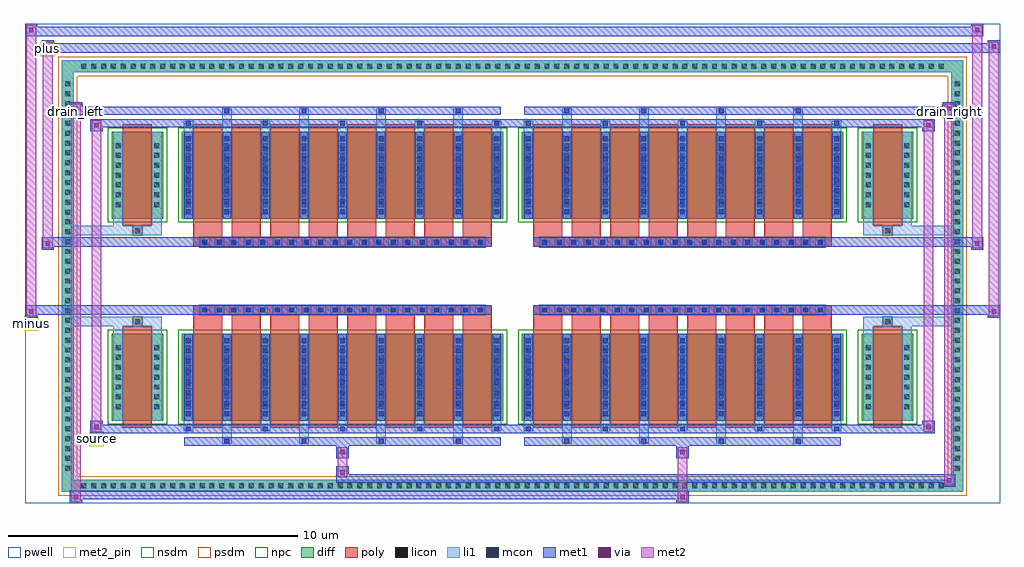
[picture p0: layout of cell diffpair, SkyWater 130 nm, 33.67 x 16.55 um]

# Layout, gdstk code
import gdstk
lib = gdstk.Library(unit=1e-6, precision=5e-09)
def R(c, l, rs):  # rectangles x0, y0, x1, y1
    for r in rs: c.add(gdstk.rectangle(r[:2], r[2:], *l))
def A(c, l, x, y, w, h, nx, ny, dx, dy):  # array of equal rectangles
    R(c, l, [(x+i*dx, y+j*dy, x+i*dx+w, y+j*dy+h) for i in range(nx) for j in range(ny)])
def P(c, l, *ps):  # polygons
    for p in ps: c.add(gdstk.Polygon(p, *l))
pwell = (64, 44)
diff = (65, 20)
poly = (66, 20)
licon = (66, 44)
li1 = (67, 20)
mcon = (67, 44)
met1 = (68, 20)
via = (68, 44)
met2_pin = (69, 16)
met2 = (69, 20)
nsdm = (93, 44)
psdm = (94, 20)
npc = (95, 20)

diffpair = lib.new_cell('diffpair')
R(diffpair, pwell, [(-16.82,-7.84,16.82,8.71), (-14.14,-6.03,-0.01,-0.805), (0.01,-6.03,14.14,-0.805), (-14.14,0.805,-0.01,6.03), (0.01,0.805,14.14,6.03)])
A(diffpair, diff, -14.995, -7.44, 0.41, 0.41, 88, 2, 0.34, 14.47)
A(diffpair, diff, -15.55, -6.835, 0.41, 0.41, 1, 40, 0, 0.34)
A(diffpair, diff, 15.14, -6.835, 0.41, 0.41, 1, 40, 0, 0.34)
R(diffpair, diff, [(-14.995,-7.44,14.995,-7.03), (-15.55,-6.835,-15.14,6.835), (15.14,-6.835,15.55,6.835), (-13.83,-4.985,-12.05,-1.985), (-11.41,-4.985,-0.32,-1.985), (0.32,-4.985,11.41,-1.985), (12.05,-4.985,13.83,-1.985), (-13.83,1.985,-12.05,4.985), (-11.41,1.985,-0.32,4.985), (0.32,1.985,11.41,4.985), (12.05,1.985,13.83,4.985), (-14.995,7.03,14.995,7.44)])
P(diffpair, diff, [(15.55,7.44),(-15.55,7.44),(-15.55,-7.03),(-15.14,-7.03),(-15.14,7.03),(15.14,7.03),(15.14,-7.03),(-15.14,-7.03),(-15.55,-7.03),(-15.55,-7.44),(15.55,-7.44)])
A(diffpair, poly, -11.02, -5.235, 1, 3.5, 8, 2, 1.33, 6.97)
A(diffpair, poly, 0.71, -5.235, 1, 3.5, 8, 2, 1.33, 6.97)
A(diffpair, poly, -11.02, -1.735, 1, 0.4, 8, 2, 1.33, 3.07)
A(diffpair, poly, 0.71, -1.735, 1, 0.4, 8, 2, 1.33, 3.07)
A(diffpair, poly, -10.78, -1.335, 0.33, 0.33, 20, 2, 0.5, 2.34)
A(diffpair, poly, 0.95, -1.335, 0.33, 0.33, 20, 2, 0.5, 2.34)
R(diffpair, poly, [(-13.44,-5.235,-12.44,-1.735), (12.44,-5.235,13.44,-1.735), (-13.105,-1.735,-12.775,-1.405), (-13.105,-1.735,-12.775,-1.405), (12.775,-1.735,13.105,-1.405), (12.775,-1.735,13.105,-1.405), (-11.02,-1.335,-0.71,-1.005), (0.71,-1.335,11.02,-1.005), (-11.02,1.005,-0.71,1.335), (0.71,1.005,11.02,1.335), (-13.105,1.405,-12.775,1.735), (-13.105,1.405,-12.775,1.735), (12.775,1.405,13.105,1.735), (12.775,1.405,13.105,1.735), (-13.44,1.735,-12.44,5.235), (12.44,1.735,13.44,5.235)])
A(diffpair, licon, -14.875, -7.32, 0.17, 0.17, 88, 2, 0.34, 14.47)
A(diffpair, licon, -15.43, -6.715, 0.17, 0.17, 1, 40, 0, 0.34)
A(diffpair, licon, 15.26, -6.715, 0.17, 0.17, 1, 40, 0, 0.34)
A(diffpair, licon, -13.69, -4.59, 0.17, 0.17, 1, 7, 0, 0.34)
A(diffpair, licon, -12.36, -4.59, 0.17, 0.17, 1, 7, 0, 0.34)
A(diffpair, licon, -11.27, -4.59, 0.17, 0.17, 9, 7, 1.33, 0.34)
A(diffpair, licon, 0.46, -4.59, 0.17, 0.17, 9, 7, 1.33, 0.34)
A(diffpair, licon, 12.19, -4.59, 0.17, 0.17, 1, 7, 0, 0.34)
A(diffpair, licon, 13.52, -4.59, 0.17, 0.17, 1, 7, 0, 0.34)
A(diffpair, licon, -10.7, -1.255, 0.17, 0.17, 20, 2, 0.5, 2.34)
A(diffpair, licon, 1.03, -1.255, 0.17, 0.17, 20, 2, 0.5, 2.34)
A(diffpair, licon, -13.69, 2.38, 0.17, 0.17, 1, 7, 0, 0.34)
A(diffpair, licon, -12.36, 2.38, 0.17, 0.17, 1, 7, 0, 0.34)
A(diffpair, licon, -11.27, 2.38, 0.17, 0.17, 9, 7, 1.33, 0.34)
A(diffpair, licon, 0.46, 2.38, 0.17, 0.17, 9, 7, 1.33, 0.34)
A(diffpair, licon, 12.19, 2.38, 0.17, 0.17, 1, 7, 0, 0.34)
A(diffpair, licon, 13.52, 2.38, 0.17, 0.17, 1, 7, 0, 0.34)
R(diffpair, licon, [(-13.025,-1.655,-12.855,-1.485), (12.855,-1.655,13.025,-1.485), (-13.025,1.485,-12.855,1.655), (12.855,1.485,13.025,1.655)])
A(diffpair, li1, -14.955, -7.4, 0.33, 0.33, 88, 2, 0.34, 14.47)
A(diffpair, li1, -15.51, -6.795, 0.33, 0.33, 1, 40, 0, 0.34)
A(diffpair, li1, 15.18, -6.795, 0.33, 0.33, 1, 40, 0, 0.34)
A(diffpair, li1, -10.02, -5.79, 0.33, 0.805, 4, 2, 2.66, 10.775)
A(diffpair, li1, -9.94, -5.79, 0.17, 0.17, 4, 2, 2.66, 11.41)
A(diffpair, li1, 1.71, -5.79, 0.33, 0.805, 4, 2, 2.66, 10.775)
A(diffpair, li1, 1.79, -5.79, 0.17, 0.17, 4, 2, 2.66, 11.41)
A(diffpair, li1, -11.35, -5.36, 0.33, 0.375, 5, 2, 2.66, 10.345)
A(diffpair, li1, -11.27, -5.36, 0.17, 0.17, 5, 2, 2.66, 10.55)
A(diffpair, li1, 0.38, -5.36, 0.33, 0.375, 5, 2, 2.66, 10.345)
A(diffpair, li1, 0.46, -5.36, 0.17, 0.17, 5, 2, 2.66, 10.55)
A(diffpair, li1, -11.35, -4.985, 0.33, 3, 9, 2, 1.33, 6.97)
A(diffpair, li1, 0.38, -4.985, 0.33, 3, 9, 2, 1.33, 6.97)
A(diffpair, li1, -11.27, -4.83, 0.17, 0.17, 9, 8, 1.33, 0.36)
A(diffpair, li1, -11.27, -4.83, 0.17, 2.69, 9, 2, 1.33, 6.97)
A(diffpair, li1, 0.46, -4.83, 0.17, 0.17, 9, 8, 1.33, 0.36)
A(diffpair, li1, 0.46, -4.83, 0.17, 2.69, 9, 2, 1.33, 6.97)
A(diffpair, li1, -13.77, -4.67, 0.33, 0.33, 1, 7, 0, 0.34)
A(diffpair, li1, -12.44, -4.67, 0.33, 0.33, 1, 7, 0, 0.34)
A(diffpair, li1, -11.35, -4.67, 0.33, 0.33, 9, 7, 1.33, 0.34)
A(diffpair, li1, 0.38, -4.67, 0.33, 0.33, 9, 7, 1.33, 0.34)
A(diffpair, li1, 12.11, -4.67, 0.33, 0.33, 1, 7, 0, 0.34)
A(diffpair, li1, 13.44, -4.67, 0.33, 0.33, 1, 7, 0, 0.34)
A(diffpair, li1, -10.78, -1.335, 0.33, 0.33, 20, 2, 0.5, 2.34)
A(diffpair, li1, 0.95, -1.335, 0.33, 0.33, 20, 2, 0.5, 2.34)
A(diffpair, li1, -11.27, 2.14, 0.17, 0.17, 9, 8, 1.33, 0.36)
A(diffpair, li1, 0.46, 2.14, 0.17, 0.17, 9, 8, 1.33, 0.36)
A(diffpair, li1, -13.77, 2.3, 0.33, 0.33, 1, 7, 0, 0.34)
A(diffpair, li1, -12.44, 2.3, 0.33, 0.33, 1, 7, 0, 0.34)
A(diffpair, li1, -11.35, 2.3, 0.33, 0.33, 9, 7, 1.33, 0.34)
A(diffpair, li1, 0.38, 2.3, 0.33, 0.33, 9, 7, 1.33, 0.34)
A(diffpair, li1, 12.11, 2.3, 0.33, 0.33, 1, 7, 0, 0.34)
A(diffpair, li1, 13.44, 2.3, 0.33, 0.33, 1, 7, 0, 0.34)
R(diffpair, li1, [(-15.55,-7.44,-15.14,-7.03), (-15.55,-7.44,-15.14,-7.03), (-15.14,-7.44,15.14,-7.03), (15.14,-7.44,15.55,-7.03), (15.14,-7.44,15.55,-7.03), (-15.55,-7.03,-15.14,7.03), (15.14,-7.03,15.55,7.03), (-13.77,-4.985,-13.44,-1.985), (-12.44,-4.985,-12.11,-1.985), (12.11,-4.985,12.44,-1.985), (13.44,-4.985,13.77,-1.985), (-13.77,-1.985,-13.44,-1.405), (-12.44,-1.985,-12.11,-1.405), (12.11,-1.985,12.44,-1.405), (13.44,-1.985,13.77,-1.405), (-15.55,-1.735,-13.105,-1.405), (-13.77,-1.735,-13.105,-1.405), (-13.105,-1.735,-12.775,-1.405), (-12.775,-1.735,-12.11,-1.405), (12.11,-1.735,12.775,-1.405), (12.775,-1.735,13.105,-1.405), (12.775,-1.735,15.55,-1.405), (13.105,-1.735,13.77,-1.405), (-15.55,1.405,-13.105,1.735), (-13.77,1.405,-13.105,1.735), (-13.77,1.405,-13.44,1.985), (-13.105,1.405,-12.775,1.735), (-12.775,1.405,-12.11,1.735), (-12.44,1.405,-12.11,1.985), (12.11,1.405,12.775,1.735), (12.11,1.405,12.44,1.985), (12.775,1.405,13.105,1.735), (12.775,1.405,15.55,1.735), (13.105,1.405,13.77,1.735), (13.44,1.405,13.77,1.985), (-13.77,1.985,-13.44,4.985), (-12.44,1.985,-12.11,4.985), (12.11,1.985,12.44,4.985), (13.44,1.985,13.77,4.985), (-15.55,7.03,-15.14,7.44), (-15.55,7.03,-15.14,7.44), (-15.14,7.03,15.14,7.44), (15.14,7.03,15.55,7.44), (15.14,7.03,15.55,7.44)])
A(diffpair, mcon, -9.94, -5.79, 0.17, 0.17, 4, 2, 2.66, 11.41)
A(diffpair, mcon, 1.79, -5.79, 0.17, 0.17, 4, 2, 2.66, 11.41)
A(diffpair, mcon, -11.27, -5.36, 0.17, 0.17, 5, 2, 2.66, 10.55)
A(diffpair, mcon, 0.46, -5.36, 0.17, 0.17, 5, 2, 2.66, 10.55)
A(diffpair, mcon, -11.27, -4.83, 0.17, 0.17, 9, 8, 1.33, 0.36)
A(diffpair, mcon, 0.46, -4.83, 0.17, 0.17, 9, 8, 1.33, 0.36)
A(diffpair, mcon, -10.7, -1.255, 0.17, 0.17, 20, 2, 0.5, 2.34)
A(diffpair, mcon, 1.03, -1.255, 0.17, 0.17, 20, 2, 0.5, 2.34)
A(diffpair, mcon, -11.27, 2.14, 0.17, 0.17, 9, 8, 1.33, 0.36)
A(diffpair, mcon, 0.46, 2.14, 0.17, 0.17, 9, 8, 1.33, 0.36)
A(diffpair, met1, -10, -5.85, 0.29, 0.29, 4, 2, 2.66, 11.41)
A(diffpair, met1, 1.73, -5.85, 0.29, 0.29, 4, 2, 2.66, 11.41)
A(diffpair, met1, -11.33, -5.42, 0.29, 0.29, 5, 2, 2.66, 10.55)
A(diffpair, met1, 0.4, -5.42, 0.29, 0.29, 5, 2, 2.66, 10.55)
A(diffpair, met1, -11.33, -4.985, 0.29, 3, 9, 2, 1.33, 6.97)
A(diffpair, met1, 0.4, -4.985, 0.29, 3, 9, 2, 1.33, 6.97)
A(diffpair, met1, -11.33, -4.89, 0.29, 0.29, 9, 8, 1.33, 0.36)
A(diffpair, met1, 0.4, -4.89, 0.29, 0.29, 9, 8, 1.33, 0.36)
A(diffpair, met1, -10.76, -1.315, 0.29, 0.29, 20, 2, 0.5, 2.34)
A(diffpair, met1, 0.97, -1.315, 0.29, 0.29, 20, 2, 0.5, 2.34)
A(diffpair, met1, -11.33, 2.08, 0.29, 0.29, 9, 8, 1.33, 0.36)
A(diffpair, met1, 0.4, 2.08, 0.29, 0.29, 9, 8, 1.33, 0.36)
R(diffpair, met1, [(-15.28,-7.84,-14.85,-7.41), (5.65,-7.84,6.08,-7.41), (-15.28,-7.7,6.08,-7.41), (14.85,-7.27,15.28,-6.84), (-6.08,-7.13,15.28,-6.84), (-6.08,-6.99,-5.65,-6.56), (-6.08,-6.28,-5.65,-5.85), (5.65,-6.28,6.08,-5.85), (-11.33,-5.85,-0.4,-5.56), (0.4,-5.85,11.33,-5.56), (-14.57,-5.42,-14.14,-4.99), (-14.57,-5.42,-11.33,-5.13), (-11.33,-5.42,-0.4,-5.13), (-0.4,-5.42,0.4,-5.13), (0.4,-5.42,11.33,-5.13), (11.33,-5.42,14.57,-5.13), (14.14,-5.42,14.57,-4.99), (-16.82,-1.435,-16.39,-1.005), (16.39,-1.435,16.82,-1.005), (-16.82,-1.335,-0.71,-1.005), (-11.02,-1.335,-0.71,-1.005), (0.71,-1.335,11.02,-1.005), (0.71,-1.335,16.82,-1.005), (-16.25,0.905,-15.82,1.335), (15.82,0.905,16.25,1.335), (-16.25,1.005,-11.02,1.335), (-11.02,1.005,-0.71,1.335), (0.71,1.005,11.02,1.335), (11.02,1.005,16.25,1.335), (-14.57,4.99,-14.14,5.42), (14.14,4.99,14.57,5.42), (-14.57,5.13,-11.33,5.42), (-11.33,5.13,-0.4,5.42), (-0.4,5.13,0.4,5.42), (0.4,5.13,11.33,5.42), (11.33,5.13,14.57,5.42), (-15.28,5.56,-14.85,5.99), (-15.28,5.56,-11.33,5.85), (-11.33,5.56,-0.4,5.85), (0.4,5.56,11.33,5.85), (11.33,5.56,15.28,5.85), (14.85,5.56,15.28,5.99), (-16.25,7.71,-15.82,8.14), (-16.25,7.71,-14.14,8.04), (-14.14,7.71,14.14,8.04), (14.14,7.71,16.82,8.04), (16.39,7.71,16.82,8.14), (-16.82,8.28,-16.39,8.71), (-16.82,8.28,-14.14,8.61), (-14.14,8.28,14.14,8.61), (14.14,8.28,16.25,8.61), (15.82,8.28,16.25,8.71)])
R(diffpair, via, [(-15.14,-7.7,-14.99,-7.55), (5.79,-7.7,5.94,-7.55), (14.99,-7.13,15.14,-6.98), (-5.94,-6.85,-5.79,-6.7), (-5.94,-6.14,-5.79,-5.99), (5.79,-6.14,5.94,-5.99), (-14.43,-5.28,-14.28,-5.13), (14.28,-5.28,14.43,-5.13), (-16.68,-1.295,-16.53,-1.145), (16.53,-1.295,16.68,-1.145), (-16.11,1.045,-15.96,1.195), (15.96,1.045,16.11,1.195), (-14.43,5.13,-14.28,5.28), (14.28,5.13,14.43,5.28), (-15.14,5.7,-14.99,5.85), (14.99,5.7,15.14,5.85), (-16.11,7.85,-15.96,8), (16.53,7.85,16.68,8), (-16.68,8.42,-16.53,8.57), (15.96,8.42,16.11,8.57)])
R(diffpair, met2_pin, [(-14.605,-5.87,-14.105,-5.37), (-16.855,-1.885,-16.355,-1.385), (-15.315,5.44,-14.815,5.94), (14.815,5.44,15.315,5.94), (-16.285,7.59,-15.785,8.09)])
R(diffpair, met2, [(-15.23,-7.79,-14.9,-7.46), (-15.23,-7.79,-14.9,5.94), (5.7,-7.79,6.03,-7.46), (5.7,-7.46,6.03,-6.23), (14.9,-7.22,15.23,-6.89), (14.9,-7.22,15.23,5.94), (-6.03,-6.94,-5.7,-6.61), (-6.03,-6.61,-5.7,-6.23), (-6.03,-6.23,-5.7,-5.9), (5.7,-6.23,6.03,-5.9), (-14.52,-5.37,-14.19,-5.04), (-14.52,-5.37,-14.19,5.37), (14.19,-5.37,14.52,-5.04), (14.19,-5.37,14.52,5.37), (-16.77,-1.385,-16.44,-1.055), (-16.77,-1.385,-16.44,8.66), (16.44,-1.385,16.77,-1.055), (16.44,-1.385,16.77,8.09), (-16.2,0.955,-15.87,1.285), (-16.2,0.955,-15.87,8.09), (15.87,0.955,16.2,1.285), (15.87,0.955,16.2,8.66), (-14.52,5.04,-14.19,5.37), (14.19,5.04,14.52,5.37), (-15.23,5.61,-14.9,5.94), (14.9,5.61,15.23,5.94), (-16.2,7.76,-15.87,8.09), (16.44,7.76,16.77,8.09), (-16.77,8.33,-16.44,8.66), (15.87,8.33,16.2,8.66)])
P(diffpair, met2, [(16.77,-1.385),(16.77,-1.385),(16.77,-1.055),(16.77,-1.055)],
  [(16.77,7.76),(16.77,7.76),(16.77,8.09),(16.77,8.09)],
  [(-16.44,-1.385),(-16.44,-1.385),(-16.44,-1.055),(-16.44,-1.055)],
  [(-16.44,8.33),(-16.44,8.33),(-16.44,8.66),(-16.44,8.66)],
  [(16.2,0.955),(16.2,0.955),(16.2,1.285),(16.2,1.285)],
  [(16.2,8.33),(16.2,8.33),(16.2,8.66),(16.2,8.66)],
  [(-15.87,0.955),(-15.87,0.955),(-15.87,1.285),(-15.87,1.285)],
  [(-15.87,7.76),(-15.87,7.76),(-15.87,8.09),(-15.87,8.09)],
  [(-14.9,-7.79),(-14.9,-7.79),(-14.9,-7.46),(-14.9,-7.46)],
  [(-14.9,5.61),(-14.9,5.61),(-14.9,5.94),(-14.9,5.94)],
  [(15.23,-7.22),(15.23,-7.22),(15.23,-6.89),(15.23,-6.89)],
  [(15.23,5.61),(15.23,5.61),(15.23,5.94),(15.23,5.94)],
  [(-14.19,-5.37),(-14.19,-5.37),(-14.19,-5.04),(-14.19,-5.04)],
  [(-14.19,5.04),(-14.19,5.04),(-14.19,5.37),(-14.19,5.37)],
  [(14.52,-5.37),(14.52,-5.37),(14.52,-5.04),(14.52,-5.04)],
  [(14.52,5.04),(14.52,5.04),(14.52,5.37),(14.52,5.37)])
R(diffpair, nsdm, [(-13.96,-5.115,-11.92,-1.855), (-11.54,-5.115,-0.19,-1.855), (0.19,-5.115,11.54,-1.855), (11.92,-5.115,13.96,-1.855), (-13.96,1.855,-11.92,5.115), (-11.54,1.855,-0.19,5.115), (0.19,1.855,11.54,5.115), (11.92,1.855,13.96,5.115)])
P(diffpair, psdm, [(15.68,7.57),(-15.68,7.57),(-15.68,-6.9),(-15.01,-6.9),(-15.01,6.9),(15.01,6.9),(15.01,-6.9),(-15.01,-6.9),(-15.68,-6.9),(-15.68,-7.57),(15.68,-7.57)])
A(diffpair, npc, -10.8, -1.355, 0.37, 0.37, 20, 2, 0.5, 2.34)
A(diffpair, npc, 0.93, -1.355, 0.37, 0.37, 20, 2, 0.5, 2.34)
R(diffpair, npc, [(-13.125,-1.755,-12.755,-1.385), (12.755,-1.755,13.125,-1.385), (-10.8,-1.355,-9.93,-0.985), (-10.8,-1.355,-9.93,-0.985), (-10.3,-1.355,-9.43,-0.985), (-10.3,-1.355,-9.43,-0.985), (-9.8,-1.355,-8.93,-0.985), (-9.8,-1.355,-8.93,-0.985), (-9.3,-1.355,-8.43,-0.985), (-9.3,-1.355,-8.43,-0.985), (-8.8,-1.355,-7.93,-0.985), (-8.8,-1.355,-7.93,-0.985), (-8.3,-1.355,-7.43,-0.985), (-8.3,-1.355,-7.43,-0.985), (-7.8,-1.355,-6.93,-0.985), (-7.8,-1.355,-6.93,-0.985), (-7.3,-1.355,-6.43,-0.985), (-7.3,-1.355,-6.43,-0.985), (-6.8,-1.355,-5.93,-0.985), (-6.8,-1.355,-5.93,-0.985), (-6.3,-1.355,-5.43,-0.985), (-6.3,-1.355,-5.43,-0.985), (-5.8,-1.355,-4.93,-0.985), (-5.8,-1.355,-4.93,-0.985), (-5.3,-1.355,-4.43,-0.985), (-5.3,-1.355,-4.43,-0.985), (-4.8,-1.355,-3.93,-0.985), (-4.8,-1.355,-3.93,-0.985), (-4.3,-1.355,-3.43,-0.985), (-4.3,-1.355,-3.43,-0.985), (-3.8,-1.355,-2.93,-0.985), (-3.8,-1.355,-2.93,-0.985), (-3.3,-1.355,-2.43,-0.985), (-3.3,-1.355,-2.43,-0.985), (-2.8,-1.355,-1.93,-0.985), (-2.8,-1.355,-1.93,-0.985), (-2.3,-1.355,-1.43,-0.985), (-2.3,-1.355,-1.43,-0.985), (-1.8,-1.355,-0.93,-0.985), (-1.8,-1.355,-0.93,-0.985), (0.93,-1.355,1.8,-0.985), (0.93,-1.355,1.8,-0.985), (1.43,-1.355,2.3,-0.985), (1.43,-1.355,2.3,-0.985), (1.93,-1.355,2.8,-0.985), (1.93,-1.355,2.8,-0.985), (2.43,-1.355,3.3,-0.985), (2.43,-1.355,3.3,-0.985), (2.93,-1.355,3.8,-0.985), (2.93,-1.355,3.8,-0.985), (3.43,-1.355,4.3,-0.985), (3.43,-1.355,4.3,-0.985), (3.93,-1.355,4.8,-0.985), (3.93,-1.355,4.8,-0.985), (4.43,-1.355,5.3,-0.985), (4.43,-1.355,5.3,-0.985), (4.93,-1.355,5.8,-0.985), (4.93,-1.355,5.8,-0.985), (5.43,-1.355,6.3,-0.985), (5.43,-1.355,6.3,-0.985), (5.93,-1.355,6.8,-0.985), (5.93,-1.355,6.8,-0.985), (6.43,-1.355,7.3,-0.985), (6.43,-1.355,7.3,-0.985), (6.93,-1.355,7.8,-0.985), (6.93,-1.355,7.8,-0.985), (7.43,-1.355,8.3,-0.985), (7.43,-1.355,8.3,-0.985), (7.93,-1.355,8.8,-0.985), (7.93,-1.355,8.8,-0.985), (8.43,-1.355,9.3,-0.985), (8.43,-1.355,9.3,-0.985), (8.93,-1.355,9.8,-0.985), (8.93,-1.355,9.8,-0.985), (9.43,-1.355,10.3,-0.985), (9.43,-1.355,10.3,-0.985), (9.93,-1.355,10.8,-0.985), (9.93,-1.355,10.8,-0.985), (-10.8,0.985,-9.93,1.355), (-10.8,0.985,-9.93,1.355), (-10.3,0.985,-9.43,1.355), (-10.3,0.985,-9.43,1.355), (-9.8,0.985,-8.93,1.355), (-9.8,0.985,-8.93,1.355), (-9.3,0.985,-8.43,1.355), (-9.3,0.985,-8.43,1.355), (-8.8,0.985,-7.93,1.355), (-8.8,0.985,-7.93,1.355), (-8.3,0.985,-7.43,1.355), (-8.3,0.985,-7.43,1.355), (-7.8,0.985,-6.93,1.355), (-7.8,0.985,-6.93,1.355), (-7.3,0.985,-6.43,1.355), (-7.3,0.985,-6.43,1.355), (-6.8,0.985,-5.93,1.355), (-6.8,0.985,-5.93,1.355), (-6.3,0.985,-5.43,1.355), (-6.3,0.985,-5.43,1.355), (-5.8,0.985,-4.93,1.355), (-5.8,0.985,-4.93,1.355), (-5.3,0.985,-4.43,1.355), (-5.3,0.985,-4.43,1.355), (-4.8,0.985,-3.93,1.355), (-4.8,0.985,-3.93,1.355), (-4.3,0.985,-3.43,1.355), (-4.3,0.985,-3.43,1.355), (-3.8,0.985,-2.93,1.355), (-3.8,0.985,-2.93,1.355), (-3.3,0.985,-2.43,1.355), (-3.3,0.985,-2.43,1.355), (-2.8,0.985,-1.93,1.355), (-2.8,0.985,-1.93,1.355), (-2.3,0.985,-1.43,1.355), (-2.3,0.985,-1.43,1.355), (-1.8,0.985,-0.93,1.355), (-1.8,0.985,-0.93,1.355), (0.93,0.985,1.8,1.355), (0.93,0.985,1.8,1.355), (1.43,0.985,2.3,1.355), (1.43,0.985,2.3,1.355), (1.93,0.985,2.8,1.355), (1.93,0.985,2.8,1.355), (2.43,0.985,3.3,1.355), (2.43,0.985,3.3,1.355), (2.93,0.985,3.8,1.355), (2.93,0.985,3.8,1.355), (3.43,0.985,4.3,1.355), (3.43,0.985,4.3,1.355), (3.93,0.985,4.8,1.355), (3.93,0.985,4.8,1.355), (4.43,0.985,5.3,1.355), (4.43,0.985,5.3,1.355), (4.93,0.985,5.8,1.355), (4.93,0.985,5.8,1.355), (5.43,0.985,6.3,1.355), (5.43,0.985,6.3,1.355), (5.93,0.985,6.8,1.355), (5.93,0.985,6.8,1.355), (6.43,0.985,7.3,1.355), (6.43,0.985,7.3,1.355), (6.93,0.985,7.8,1.355), (6.93,0.985,7.8,1.355), (7.43,0.985,8.3,1.355), (7.43,0.985,8.3,1.355), (7.93,0.985,8.8,1.355), (7.93,0.985,8.8,1.355), (8.43,0.985,9.3,1.355), (8.43,0.985,9.3,1.355), (8.93,0.985,9.8,1.355), (8.93,0.985,9.8,1.355), (9.43,0.985,10.3,1.355), (9.43,0.985,10.3,1.355), (9.93,0.985,10.8,1.355), (9.93,0.985,10.8,1.355), (-13.125,1.385,-12.755,1.755), (12.755,1.385,13.125,1.755)])
diffpair.add(gdstk.Label('minus', (-16.605,-1.635), layer=69, texttype=5))
diffpair.add(gdstk.Label('drain_right', (15.065,5.69), layer=69, texttype=5))
diffpair.add(gdstk.Label('drain_left', (-15.065,5.69), layer=69, texttype=5))
diffpair.add(gdstk.Label('source', (-14.355,-5.62), layer=69, texttype=5))
diffpair.add(gdstk.Label('plus', (-16.035,7.84), layer=69, texttype=5))

lib.write_gds('diffpair.gds')
